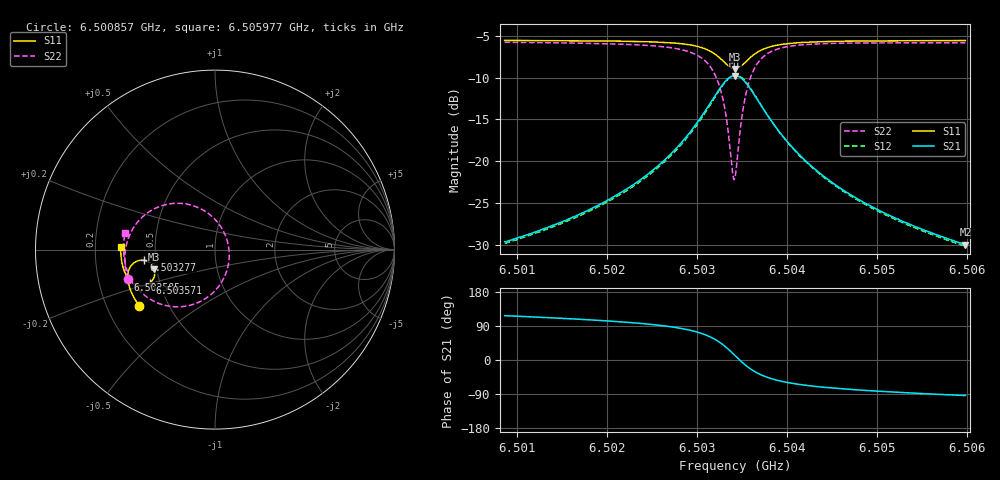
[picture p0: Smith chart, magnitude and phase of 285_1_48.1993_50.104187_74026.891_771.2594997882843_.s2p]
#  HZ  S  RI  R  50.00
! Rohde & Schwarz Vector Network Analyzer
! Rohde-Schwarz,ZNB20-2Port,1311601062101988,3.16
! Created: UTC 3/20/2024, 11:48:49 AM
! freq[Hz]  re:S11  im:S11  re:S21  im:S21  re:S12  im:S12  re:S22  im:S22
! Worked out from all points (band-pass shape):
!   401 points, 6.500857 GHz to 6.505977 GHz, reference 50 ohm
!   highest |S21| = -9.76 dB at 6.503417 GHz (marker M1); lowest = -30.0 dB at 6.505977 GHz (marker M2)
!   |S21| within 3 dB of the highest: 6.503161 GHz to 6.503673 GHz (512.6 kHz wide, 0.00788 % of centre)
!   lowest |S11| = -9.0 dB at 6.503417 GHz (marker M3), VSWR 2.10, Z = 24.2 - j6.04 ohm
!   |S11| at or under -10 dB: nowhere
!   |S22| runs from -22.2 to -5.8 dB; largest |S21 - S12| = 0.011
!   S11 on the Smith chart (normalised r, x): 6.500857 GHz: 0.34, -0.30; 6.502585 GHz: 0.33, -0.15; 6.503277 GHz: 0.43, -0.06; 6.503571 GHz: 0.44, -0.20; 6.505977 GHz: 0.31, +0.01
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6.5008572e9  -0.422 -0.3151  -0.015 0.0295  -0.0133 0.0295  -0.4872 -0.1625
6.5017148e9  -0.4594 -0.2524  -0.0144 0.0467  -0.012 0.0463  -0.5018 -0.0727
6.5021629e9  -0.4756 -0.2134  -0.0119 0.0646  -0.00904 0.0636  -0.5001 -0.0107
6.5025725e9  -0.4859 -0.1692  -0.00289 0.095  0.000728 0.0927  -0.481 0.0684
6.5025853e9  -0.486 -0.1677  -0.00227 0.0964  0.00128 0.0941  -0.4797 0.0715
6.5028285e9  -0.4853 -0.1325  0.016 0.1296  0.0198 0.1257  -0.4412 0.141
6.5030077e9  -0.4738 -0.0992  0.0507 0.1655  0.0539 0.16  -0.3729 0.2069
6.5031741e9  -0.439 -0.0663  0.1281 0.1986  0.1296 0.1922  -0.2306 0.2573
6.5032765e9  -0.3965 -0.0596  0.2132 0.1894  0.2137 0.1841  -0.0824 0.229
6.5033277e9  -0.3711 -0.0682  0.2613 0.1613  0.2621 0.1568  -0.00278 0.1715
6.5033917e9  -0.3448 -0.0946  0.3085 0.0982  0.3111 0.0932  0.0681 0.0496
6.5034173e9  -0.3384 -0.1089  0.3184 0.0662  0.3216 0.0604  0.0786 -0.00971
6.5034301e9  -0.3366 -0.1166  0.3211 0.0496  0.3244 0.0431  0.0794 -0.0403
6.5035069e9  -0.3428 -0.1612  0.3039 -0.0441  0.3058 -0.0538  0.0212 -0.2039
6.5035709e9  -0.3638 -0.1865  0.2615 -0.0974  0.2603 -0.1085  -0.0742 -0.2855
6.5036733e9  -0.4028 -0.2015  0.1878 -0.1332  0.1825 -0.1424  -0.2225 -0.3186
6.5038397e9  -0.4485 -0.1917  0.1071 -0.1302  0.1003 -0.135  -0.3676 -0.2725
6.5040189e9  -0.4756 -0.1704  0.0633 -0.1103  0.0571 -0.1125  -0.4388 -0.2083
6.504275e9  -0.4961 -0.1404  0.0336 -0.0864  0.0289 -0.087  -0.4816 -0.1367
6.504659e9  -0.5118 -0.1007  0.0147 -0.0635  0.0116 -0.0632  -0.5039 -0.0621
6.5051326e9  -0.5211 -0.0572  0.00485 -0.0472  0.00276 -0.0466  -0.5098 0.00369
6.5059774e9  -0.5259 0.0139  -0.00199 -0.0317  -0.00338 -0.0309  -0.5018 0.0918
